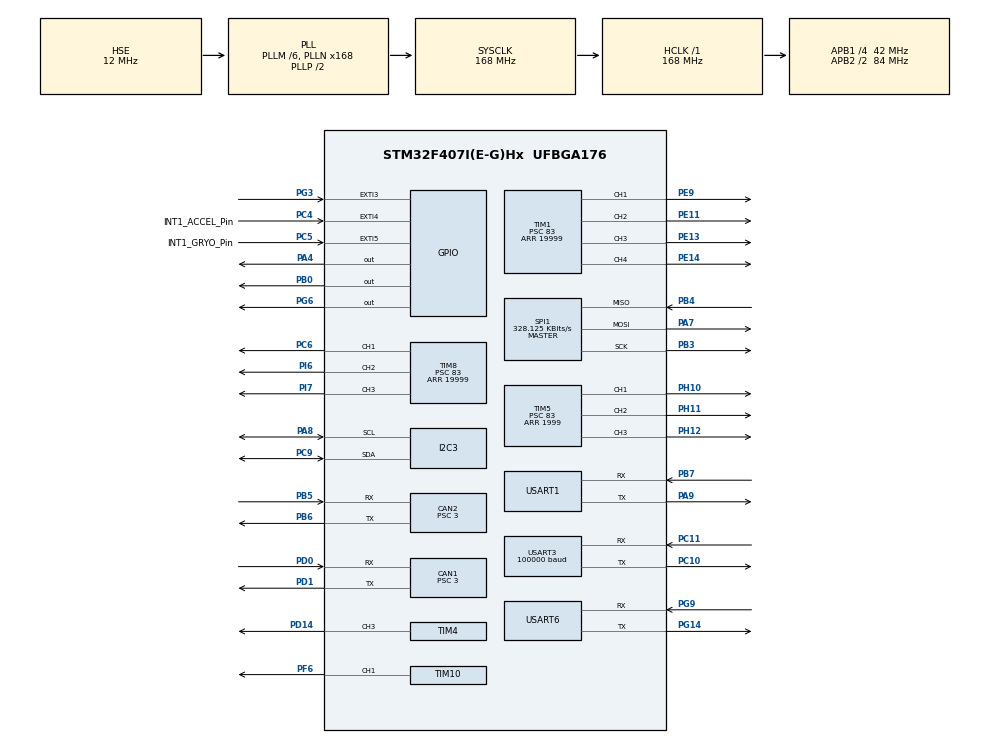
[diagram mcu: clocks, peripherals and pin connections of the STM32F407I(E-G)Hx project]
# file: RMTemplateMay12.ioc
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CAN1.BS1=CAN_BS1_10TQ
CAN1.BS2=CAN_BS2_3TQ
CAN1.CalculateBaudRate=1000000
CAN1.CalculateTimeBit=1000
CAN1.CalculateTimeQuantum=71.42857142857143
CAN1.Prescaler=3
CAN2.BS1=CAN_BS1_10TQ
CAN2.BS2=CAN_BS2_3TQ
CAN2.CalculateBaudRate=1000000
CAN2.CalculateTimeBit=1000
CAN2.CalculateTimeQuantum=71.42857142857143
CAN2.Prescaler=3
Dma.Request0=USART3_RX
Dma.Request1=USART1_TX
Dma.Request2=USART1_RX
Dma.Request3=USART6_RX
Dma.Request4=USART6_TX
Dma.Request5=TIM4_CH3
Dma.Request6=TIM5_CH1
Dma.Request7=TIM5_CH2
Dma.TIM4_CH3.5.Direction=DMA_PERIPH_TO_MEMORY
Dma.TIM4_CH3.5.FIFOMode=DMA_FIFOMODE_DISABLE
Dma.TIM4_CH3.5.Instance=DMA1_Stream7
Dma.TIM4_CH3.5.MemDataAlignment=DMA_MDATAALIGN_HALFWORD
Dma.TIM4_CH3.5.MemInc=DMA_MINC_ENABLE
Dma.TIM4_CH3.5.Mode=DMA_NORMAL
Dma.TIM4_CH3.5.PeriphDataAlignment=DMA_PDATAALIGN_HALFWORD
Dma.TIM4_CH3.5.PeriphInc=DMA_PINC_DISABLE
Dma.TIM4_CH3.5.Priority=DMA_PRIORITY_LOW
Dma.TIM5_CH1.6.Direction=DMA_PERIPH_TO_MEMORY
Dma.TIM5_CH1.6.FIFOMode=DMA_FIFOMODE_DISABLE
Dma.TIM5_CH1.6.Instance=DMA1_Stream2
Dma.TIM5_CH1.6.MemDataAlignment=DMA_MDATAALIGN_WORD
Dma.TIM5_CH1.6.MemInc=DMA_MINC_ENABLE
Dma.TIM5_CH1.6.Mode=DMA_NORMAL
Dma.TIM5_CH1.6.PeriphDataAlignment=DMA_PDATAALIGN_WORD
Dma.TIM5_CH1.6.PeriphInc=DMA_PINC_DISABLE
Dma.TIM5_CH1.6.Priority=DMA_PRIORITY_LOW
Dma.TIM5_CH2.7.Direction=DMA_PERIPH_TO_MEMORY
Dma.TIM5_CH2.7.FIFOMode=DMA_FIFOMODE_DISABLE
Dma.TIM5_CH2.7.Instance=DMA1_Stream4
Dma.TIM5_CH2.7.MemDataAlignment=DMA_MDATAALIGN_WORD
Dma.TIM5_CH2.7.MemInc=DMA_MINC_ENABLE
Dma.TIM5_CH2.7.Mode=DMA_NORMAL
Dma.TIM5_CH2.7.PeriphDataAlignment=DMA_PDATAALIGN_WORD
Dma.TIM5_CH2.7.PeriphInc=DMA_PINC_DISABLE
Dma.TIM5_CH2.7.Priority=DMA_PRIORITY_LOW
Dma.USART1_RX.2.Direction=DMA_PERIPH_TO_MEMORY
Dma.USART1_RX.2.FIFOMode=DMA_FIFOMODE_DISABLE
Dma.USART1_RX.2.Instance=DMA2_Stream2
Dma.USART1_RX.2.MemDataAlignment=DMA_MDATAALIGN_BYTE
Dma.USART1_RX.2.MemInc=DMA_MINC_ENABLE
Dma.USART1_RX.2.Mode=DMA_NORMAL
Dma.USART1_RX.2.PeriphDataAlignment=DMA_PDATAALIGN_BYTE
Dma.USART1_RX.2.PeriphInc=DMA_PINC_DISABLE
Dma.USART1_RX.2.Priority=DMA_PRIORITY_VERY_HIGH
Dma.USART1_TX.1.Direction=DMA_MEMORY_TO_PERIPH
Dma.USART1_TX.1.FIFOMode=DMA_FIFOMODE_DISABLE
Dma.USART1_TX.1.Instance=DMA2_Stream7
Dma.USART1_TX.1.MemDataAlignment=DMA_MDATAALIGN_BYTE
Dma.USART1_TX.1.MemInc=DMA_MINC_ENABLE
Dma.USART1_TX.1.Mode=DMA_NORMAL
Dma.USART1_TX.1.PeriphDataAlignment=DMA_PDATAALIGN_BYTE
Dma.USART1_TX.1.PeriphInc=DMA_PINC_DISABLE
Dma.USART1_TX.1.Priority=DMA_PRIORITY_VERY_HIGH
Dma.USART3_RX.0.Direction=DMA_PERIPH_TO_MEMORY
Dma.USART3_RX.0.FIFOMode=DMA_FIFOMODE_DISABLE
Dma.USART3_RX.0.Instance=DMA1_Stream1
Dma.USART3_RX.0.MemDataAlignment=DMA_MDATAALIGN_BYTE
Dma.USART3_RX.0.MemInc=DMA_MINC_ENABLE
Dma.USART3_RX.0.Mode=DMA_CIRCULAR
Dma.USART3_RX.0.PeriphDataAlignment=DMA_PDATAALIGN_BYTE
Dma.USART3_RX.0.PeriphInc=DMA_PINC_DISABLE
Dma.USART3_RX.0.Priority=DMA_PRIORITY_VERY_HIGH
Dma.USART6_RX.3.Direction=DMA_PERIPH_TO_MEMORY
Dma.USART6_RX.3.FIFOMode=DMA_FIFOMODE_DISABLE
Dma.USART6_RX.3.Instance=DMA2_Stream1
Dma.USART6_RX.3.MemDataAlignment=DMA_MDATAALIGN_BYTE
Dma.USART6_RX.3.MemInc=DMA_MINC_ENABLE
Dma.USART6_RX.3.Mode=DMA_NORMAL
Dma.USART6_RX.3.PeriphDataAlignment=DMA_PDATAALIGN_BYTE
Dma.USART6_RX.3.PeriphInc=DMA_PINC_DISABLE
Dma.USART6_RX.3.Priority=DMA_PRIORITY_VERY_HIGH
Dma.USART6_TX.4.Direction=DMA_MEMORY_TO_PERIPH
Dma.USART6_TX.4.FIFOMode=DMA_FIFOMODE_DISABLE
Dma.USART6_TX.4.Instance=DMA2_Stream6
Dma.USART6_TX.4.MemDataAlignment=DMA_MDATAALIGN_BYTE
Dma.USART6_TX.4.MemInc=DMA_MINC_ENABLE
Dma.USART6_TX.4.Mode=DMA_NORMAL
Dma.USART6_TX.4.PeriphDataAlignment=DMA_PDATAALIGN_BYTE
Dma.USART6_TX.4.PeriphInc=DMA_PINC_DISABLE
Dma.USART6_TX.4.Priority=DMA_PRIORITY_VERY_HIGH
FREERTOS.INCLUDE_pcTaskGetTaskName=1
FREERTOS.INCLUDE_xTaskGetHandle=1
FREERTOS.Tasks01=defaultTask,32,1024,TaskMain,Default,NULL,Dynamic,NULL,NULL;chassisTask,40,1124,TaskChassis,Default,NULL,Dynamic,NULL,NULL;IMUtempPIDtask,24,512,imu_temp_control_task,As weak,NULL,Dynamic,NULL,NULL;turretTask,40,1024,TaskTurret,Default,NULL,Dynamic,NULL,NULL
FREERTOS.configUSE_NEWLIB_REENTRANT=1
I2C3.I2C_Mode=I2C_Fast
Mcu.Family=STM32F4
Mcu.Name=STM32F407I(E-G)Hx
Mcu.Package=UFBGA176
NVIC.CAN1_RX0_IRQn=true\:5\:0\:false\:false\:true\:true\:true\:true\:true
NVIC.CAN2_RX0_IRQn=true\:5\:0\:false\:false\:true\:true\:true\:true\:true
NVIC.DMA1_Stream1_IRQn=true\:5\:0\:false\:false\:true\:true\:false\:true\:true
NVIC.DMA1_Stream2_IRQn=true\:5\:0\:false\:false\:true\:true\:false\:true\:true
NVIC.DMA1_Stream4_IRQn=true\:5\:0\:false\:false\:true\:true\:false\:true\:true
NVIC.DMA1_Stream7_IRQn=true\:5\:0\:false\:false\:true\:true\:false\:true\:true
NVIC.DMA2_Stream1_IRQn=true\:5\:0\:false\:false\:true\:true\:false\:true\:true
NVIC.DMA2_Stream2_IRQn=true\:5\:0\:false\:false\:true\:true\:false\:true\:true
NVIC.DMA2_Stream6_IRQn=true\:5\:0\:false\:false\:true\:true\:false\:true\:true
NVIC.DMA2_Stream7_IRQn=true\:5\:0\:false\:false\:true\:true\:false\:true\:true
NVIC.EXTI3_IRQn=true\:5\:0\:false\:false\:true\:true\:true\:true\:true
NVIC.EXTI4_IRQn=true\:5\:0\:false\:false\:true\:true\:true\:true\:true
NVIC.PriorityGroup=NVIC_PRIORITYGROUP_4
NVIC.USART1_IRQn=true\:5\:0\:false\:false\:true\:true\:true\:true\:true
NVIC.USART3_IRQn=true\:5\:0\:false\:false\:false\:true\:true\:true\:true
NVIC.USART6_IRQn=true\:5\:0\:false\:false\:true\:true\:true\:true\:true
PA13.Mode=Serial_Wire
PA13.Signal=SYS_JTMS-SWDIO
PA14.Mode=Serial_Wire
PA14.Signal=SYS_JTCK-SWCLK
PA4.Signal=GPIO_Output
PA7.Mode=Full_Duplex_Master
PA7.Signal=SPI1_MOSI
PA8.Mode=I2C
PA8.Signal=I2C3_SCL
PA9.Mode=Asynchronous
PA9.Signal=USART1_TX
PB0.Signal=GPIO_Output
PB3.Mode=Full_Duplex_Master
PB3.Signal=SPI1_SCK
PB4.Mode=Full_Duplex_Master
PB4.Signal=SPI1_MISO
PB5.Mode=CAN_Activate
PB5.Signal=CAN2_RX
PB6.Mode=CAN_Activate
PB6.Signal=CAN2_TX
PB7.Mode=Asynchronous
PB7.Signal=USART1_RX
PC10.Mode=Asynchronous
PC10.Signal=USART3_TX
PC11.Mode=Asynchronous
PC11.Signal=USART3_RX
PC4.GPIO_Label=INT1_ACCEL_Pin
PC4.Signal=GPXTI4
PC5.GPIO_Label=INT1_GRYO_Pin
PC5.Signal=GPXTI5
PC6.Signal=S_TIM8_CH1
PC9.Mode=I2C
PC9.Signal=I2C3_SDA
PD0.Mode=CAN_Activate
PD0.Signal=CAN1_RX
PD1.Mode=CAN_Activate
PD1.Signal=CAN1_TX
PD14.Signal=S_TIM4_CH3
PE11.Signal=S_TIM1_CH2
PE13.Signal=S_TIM1_CH3
PE14.Signal=S_TIM1_CH4
PE9.Signal=S_TIM1_CH1
PF6.GPIO_PuPd=GPIO_PULLUP
PF6.GPIO_Speed=GPIO_SPEED_FREQ_HIGH
PF6.Signal=S_TIM10_CH1
PG14.Mode=Asynchronous
PG14.Signal=USART6_TX
PG3.Signal=GPXTI3
PG6.Signal=GPIO_Output
PG9.Mode=Asynchronous
PG9.Signal=USART6_RX
PH0-OSC_IN.Mode=HSE-External-Oscillator
PH0-OSC_IN.Signal=RCC_OSC_IN
PH1-OSC_OUT.Mode=HSE-External-Oscillator
PH1-OSC_OUT.Signal=RCC_OSC_OUT
PH10.Signal=S_TIM5_CH1
PH11.Signal=S_TIM5_CH2
PH12.Signal=S_TIM5_CH3
PI6.Signal=S_TIM8_CH2
PI7.Signal=S_TIM8_CH3
ProjectManager.HeapSize=0x200
ProjectManager.StackSize=0x400
ProjectManager.TargetToolchain=STM32CubeIDE
RCC.48MHZClocksFreq_Value=84000000
RCC.AHBFreq_Value=168000000
RCC.APB1CLKDivider=RCC_HCLK_DIV4
RCC.APB1Freq_Value=42000000
RCC.APB1TimFreq_Value=84000000
RCC.APB2CLKDivider=RCC_HCLK_DIV2
RCC.APB2Freq_Value=84000000
RCC.APB2TimFreq_Value=168000000
RCC.CortexFreq_Value=168000000
RCC.EnbaleCSS=true
RCC.HCLKFreq_Value=168000000
RCC.HSE_VALUE=12000000
RCC.HSI_VALUE=16000000
RCC.LSE_VALUE=32768
RCC.PLLM=6
RCC.PLLN=168
RCC.PLLSourceVirtual=RCC_PLLSOURCE_HSE
RCC.SYSCLKFreq_VALUE=168000000
RCC.SYSCLKSource=RCC_SYSCLKSOURCE_PLLCLK
RCC.VCOOutputFreq_Value=336000000
SH.S_TIM10_CH1.0=TIM10_CH1,PWM Generation1 CH1
SH.S_TIM1_CH1.0=TIM1_CH1,PWM Generation1 CH1
SH.S_TIM1_CH2.0=TIM1_CH2,PWM Generation2 CH2
SH.S_TIM1_CH3.0=TIM1_CH3,PWM Generation3 CH3
SH.S_TIM1_CH4.0=TIM1_CH4,PWM Generation4 CH4
SH.S_TIM4_CH3.0=TIM4_CH3,PWM Generation3 CH3
SH.S_TIM5_CH1.0=TIM5_CH1,PWM Generation1 CH1
SH.S_TIM5_CH2.0=TIM5_CH2,PWM Generation2 CH2
SH.S_TIM5_CH3.0=TIM5_CH3,PWM Generation3 CH3
SH.S_TIM8_CH1.0=TIM8_CH1,PWM Generation1 CH1
SH.S_TIM8_CH2.0=TIM8_CH2,PWM Generation2 CH2
SH.S_TIM8_CH3.0=TIM8_CH3,PWM Generation3 CH3
SPI1.BaudRatePrescaler=SPI_BAUDRATEPRESCALER_256
SPI1.CLKPhase=SPI_PHASE_2EDGE
SPI1.CLKPolarity=SPI_POLARITY_HIGH
SPI1.CalculateBaudRate=328.125 KBits/s
SPI1.Direction=SPI_DIRECTION_2LINES
SPI1.Mode=SPI_MODE_MASTER
SPI1.VirtualType=VM_MASTER
TIM1.AutoReloadPreload=TIM_AUTORELOAD_PRELOAD_DISABLE
TIM1.Channel-PWM\ Generation1\ CH1=TIM_CHANNEL_1
TIM1.Channel-PWM\ Generation2\ CH2=TIM_CHANNEL_2
TIM1.Channel-PWM\ Generation3\ CH3=TIM_CHANNEL_3
TIM1.Channel-PWM\ Generation4\ CH4=TIM_CHANNEL_4
TIM1.Period=19999
TIM1.Prescaler=83
TIM1.Pulse-PWM\ Generation1\ CH1=0
TIM10.Channel=TIM_CHANNEL_1
TIM10.Period=4999
TIM4.AutoReloadPreload=TIM_AUTORELOAD_PRELOAD_ENABLE
TIM4.Channel-PWM\ Generation3\ CH3=TIM_CHANNEL_3
TIM4.Period=20999
TIM4.Prescaler=83
TIM4.Pulse-PWM\ Generation3\ CH3=10499
TIM5.Channel-PWM\ Generation1\ CH1=TIM_CHANNEL_1
TIM5.Channel-PWM\ Generation2\ CH2=TIM_CHANNEL_2
TIM5.Channel-PWM\ Generation3\ CH3=TIM_CHANNEL_3
TIM5.Period=1999
TIM5.Prescaler=83
TIM8.AutoReloadPreload=TIM_AUTORELOAD_PRELOAD_ENABLE
TIM8.Channel-PWM\ Generation1\ CH1=TIM_CHANNEL_1
TIM8.Channel-PWM\ Generation2\ CH2=TIM_CHANNEL_2
TIM8.Channel-PWM\ Generation3\ CH3=TIM_CHANNEL_3
TIM8.Period=19999
TIM8.Prescaler=83
USART1.VirtualMode=VM_ASYNC
USART3.BaudRate=100000
USART3.Parity=PARITY_EVEN
USART3.VirtualMode=VM_ASYNC
USART6.VirtualMode=VM_ASYNC
VP_FREERTOS_VS_CMSIS_V2.Mode=CMSIS_V2
VP_TIM10_VS_ClockSourceINT.Mode=Enable_Timer
VP_TIM4_VS_ClockSourceINT.Mode=Internal
board=custom

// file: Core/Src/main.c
/* USER CODE BEGIN Header */
/**
  ******************************************************************************
  * @file           : main.c
  * @brief          : Main program body
  ******************************************************************************
  * @attention
  *
  * Copyright (c) 2024 STMicroelectronics.
  * All rights reserved.
  *
  * This software is licensed under terms that can be found in the LICENSE file
  * in the root directory of this software component.
  * If no LICENSE file comes with this software, it is provided AS-IS.
  *
  ******************************************************************************
  */
/* USER CODE END Header */
#include "main.h"
#include "cmsis_os.h"

/* USER CODE BEGIN Includes */
//#include "CAN_receive.h"
#include "CAN.h"
#include "bsp_can.h"
#include "remote_control.h"
#include "bsp_rc.h"
#include "UART.h"
#include "stdio.h"
#include "stdarg.h"
#include "string.h"
#include "BMI088driver.h"
#include "pid.h"
#include "bsp_imu_pwm.h"
#include "ist8310driver.h"
#include "pwm.h"
#include "songs.h"
/* USER CODE END Includes */

CAN_HandleTypeDef hcan1;
CAN_HandleTypeDef hcan2;

I2C_HandleTypeDef hi2c3;

SPI_HandleTypeDef hspi1;

TIM_HandleTypeDef htim1;
TIM_HandleTypeDef htim4;
TIM_HandleTypeDef htim5;
TIM_HandleTypeDef htim8;
TIM_HandleTypeDef htim10;
DMA_HandleTypeDef hdma_tim4_ch3;

UART_HandleTypeDef huart1;
UART_HandleTypeDef huart3;
UART_HandleTypeDef huart6;
DMA_HandleTypeDef hdma_usart1_tx;
DMA_HandleTypeDef hdma_usart1_rx;
DMA_HandleTypeDef hdma_usart3_rx;
DMA_HandleTypeDef hdma_usart6_rx;
DMA_HandleTypeDef hdma_usart6_tx;

/* Definitions for defaultTask */
osThreadId_t defaultTaskHandle;
const osThreadAttr_t defaultTask_attributes = {
  .name = "defaultTask",
  .stack_size = 1024 * 4,
  .priority = (osPriority_t) osPriorityAboveNormal,
};
/* Definitions for chassisTask */
osThreadId_t chassisTaskHandle;
const osThreadAttr_t chassisTask_attributes = {
  .name = "chassisTask",
  .stack_size = 1124 * 4,
  .priority = (osPriority_t) osPriorityHigh,
};
/* Definitions for IMUtempPIDtask */
osThreadId_t IMUtempPIDtaskHandle;
const osThreadAttr_t IMUtempPIDtask_attributes = {
  .name = "IMUtempPIDtask",
  .stack_size = 512 * 4,
  .priority = (osPriority_t) osPriorityNormal,
};
/* Definitions for turretTask */
osThreadId_t turretTaskHandle;
const osThreadAttr_t turretTask_attributes = {
  .name = "turretTask",
  .stack_size = 1024 * 4,
  .priority = (osPriority_t) osPriorityHigh,
};
/* USER CODE BEGIN PV */
const RC_ctrl_t *local_rc_ctrl;

PID_preset_t chassisPreset = {3.6, 0.015, 4.2};  //0.8f, 0.025f, 0.95f   {1.6, 0.045, 0.10}; 32 0.42
PID_preset_t yawPresetCurrentRPM = {46, 10.0, 16.4};
PID_preset_t yawPresetVoltageRPM = {30, 0.2, 0.1};
PID_preset_t yawPresetCurrentPosition = {12, 1, 0.0};
PID_preset_t yawPresetVoltagePosition = {36, 0.3, 0.0};
PID_preset_t pitchPresetVoltagePosition = {32, 0.0, 0.0};
PID_preset_t indexerPreset = {1.1f, 0.02f, -2.4f};
PID_preset_t shooterPreset = {1.20f, 0.12f, 1.60f};
PID_preset_t powerPreset = {0, 0.000000000001, 0};
PID_preset_t flywheel = {12, 0, 0};
PID_preset_t customPreset = {0, 0, 0};

int target = 2000;

extern game_status_t game_status;
extern power_heat_data_t power_heat_data;
extern robot_status_t robot_status;
extern pc_control_t pc_control;

float calcChassisPower = 0;

/* USER CODE END PV */

void SystemClock_Config(void);
static void MX_GPIO_Init(void);
static void MX_DMA_Init(void);
static void MX_CAN1_Init(void);
static void MX_CAN2_Init(void);
static void MX_SPI1_Init(void);
static void MX_TIM4_Init(void);
static void MX_USART1_UART_Init(void);
static void MX_USART6_UART_Init(void);
static void MX_TIM1_Init(void);
static void MX_TIM8_Init(void);
static void MX_USART3_UART_Init(void);
static void MX_TIM10_Init(void);
static void MX_I2C3_Init(void);
static void MX_TIM5_Init(void);
void TaskMain(void *argument);
void TaskChassis(void *argument);
void imu_temp_control_task(void *argument);
void TaskTurret(void *argument);

int main(void)
{

  /* MCU Configuration--------------------------------------------------------*/

  /* Reset of all peripherals, Initializes the Flash interface and the Systick. */
  HAL_Init();

  /* Configure the system clock */
  SystemClock_Config();

  /* Initialize all configured peripherals */
  MX_GPIO_Init();
  MX_DMA_Init();
  MX_CAN1_Init();
  MX_CAN2_Init();
  MX_SPI1_Init();
  MX_TIM4_Init();
  MX_USART1_UART_Init();
  MX_USART6_UART_Init();
  MX_TIM1_Init();
  MX_TIM8_Init();
  MX_USART3_UART_Init();
  MX_TIM10_Init();
  MX_I2C3_Init();
  MX_TIM5_Init();
  /* USER CODE BEGIN 2 */
  can_filter_init();
  remote_control_init();
  usart_Init();
  local_rc_ctrl = get_remote_control_point();
  PWMInit(&htim1, &htim4, &htim5, &htim8);
  //__HAL_UART_ENABLE_IT(&huart1,UART_IT_IDLE);
  /* USER CODE END 2 */

  /* Init scheduler */
  osKernelInitialize();

  /* Create the thread(s) */
  /* creation of defaultTask */
  defaultTaskHandle = osThreadNew(TaskMain, NULL, &defaultTask_attributes);

  /* creation of chassisTask */
  chassisTaskHandle = osThreadNew(TaskChassis, NULL, &chassisTask_attributes);

  /* creation of IMUtempPIDtask */
  IMUtempPIDtaskHandle = osThreadNew(imu_temp_control_task, NULL, &IMUtempPIDtask_attributes);

  /* creation of turretTask */
  turretTaskHandle = osThreadNew(TaskTurret, NULL, &turretTask_attributes);

  /* Start scheduler */
  osKernelStart();

  /* We should never get here as control is now taken by the scheduler */

  /* Infinite loop */
  while (1)
  {

  }
}

void SystemClock_Config(void)
{
  RCC_OscInitTypeDef RCC_OscInitStruct = {0};
  RCC_ClkInitTypeDef RCC_ClkInitStruct = {0};

  /** Configure the main internal regulator output voltage
  */
  __HAL_RCC_PWR_CLK_ENABLE();
  __HAL_PWR_VOLTAGESCALING_CONFIG(PWR_REGULATOR_VOLTAGE_SCALE1);

  /** Initializes the RCC Oscillators according to the specified parameters
  * in the RCC_OscInitTypeDef structure.
  */
  RCC_OscInitStruct.OscillatorType = RCC_OSCILLATORTYPE_HSE;
  RCC_OscInitStruct.HSEState = RCC_HSE_ON;
  RCC_OscInitStruct.PLL.PLLState = RCC_PLL_ON;
  RCC_OscInitStruct.PLL.PLLSource = RCC_PLLSOURCE_HSE;
  RCC_OscInitStruct.PLL.PLLM = 6;
  RCC_OscInitStruct.PLL.PLLN = 168;
  RCC_OscInitStruct.PLL.PLLP = RCC_PLLP_DIV2;
  RCC_OscInitStruct.PLL.PLLQ = 4;
  if (HAL_RCC_OscConfig(&RCC_OscInitStruct) != HAL_OK)
  {
    Error_Handler();
  }

  /** Initializes the CPU, AHB and APB buses clocks
  */
  RCC_ClkInitStruct.ClockType = RCC_CLOCKTYPE_HCLK|RCC_CLOCKTYPE_SYSCLK
                              |RCC_CLOCKTYPE_PCLK1|RCC_CLOCKTYPE_PCLK2;
  RCC_ClkInitStruct.SYSCLKSource = RCC_SYSCLKSOURCE_PLLCLK;
  RCC_ClkInitStruct.AHBCLKDivider = RCC_SYSCLK_DIV1;
  RCC_ClkInitStruct.APB1CLKDivider = RCC_HCLK_DIV4;
  RCC_ClkInitStruct.APB2CLKDivider = RCC_HCLK_DIV2;

  if (HAL_RCC_ClockConfig(&RCC_ClkInitStruct, FLASH_LATENCY_5) != HAL_OK)
  {
    Error_Handler();
  }

  /** Enables the Clock Security System
  */
  HAL_RCC_EnableCSS();
}

static void MX_CAN1_Init(void)
{

  hcan1.Instance = CAN1;
  hcan1.Init.Prescaler = 3;
  hcan1.Init.Mode = CAN_MODE_NORMAL;
  hcan1.Init.SyncJumpWidth = CAN_SJW_1TQ;
  hcan1.Init.TimeSeg1 = CAN_BS1_10TQ;
  hcan1.Init.TimeSeg2 = CAN_BS2_3TQ;
  hcan1.Init.TimeTriggeredMode = DISABLE;
  hcan1.Init.AutoBusOff = DISABLE;
  hcan1.Init.AutoWakeUp = DISABLE;
  hcan1.Init.AutoRetransmission = DISABLE;
  hcan1.Init.ReceiveFifoLocked = DISABLE;
  hcan1.Init.TransmitFifoPriority = DISABLE;
  if (HAL_CAN_Init(&hcan1) != HAL_OK)
  {
    Error_Handler();
  }

}

static void MX_CAN2_Init(void)
{

  hcan2.Instance = CAN2;
  hcan2.Init.Prescaler = 3;
  hcan2.Init.Mode = CAN_MODE_NORMAL;
  hcan2.Init.SyncJumpWidth = CAN_SJW_1TQ;
  hcan2.Init.TimeSeg1 = CAN_BS1_10TQ;
  hcan2.Init.TimeSeg2 = CAN_BS2_3TQ;
  hcan2.Init.TimeTriggeredMode = DISABLE;
  hcan2.Init.AutoBusOff = DISABLE;
  hcan2.Init.AutoWakeUp = DISABLE;
  hcan2.Init.AutoRetransmission = DISABLE;
  hcan2.Init.ReceiveFifoLocked = DISABLE;
  hcan2.Init.TransmitFifoPriority = DISABLE;
  if (HAL_CAN_Init(&hcan2) != HAL_OK)
  {
    Error_Handler();
  }

}

static void MX_I2C3_Init(void)
{

  hi2c3.Instance = I2C3;
  hi2c3.Init.ClockSpeed = 400000;
  hi2c3.Init.DutyCycle = I2C_DUTYCYCLE_2;
  hi2c3.Init.OwnAddress1 = 0;
  hi2c3.Init.AddressingMode = I2C_ADDRESSINGMODE_7BIT;
  hi2c3.Init.DualAddressMode = I2C_DUALADDRESS_DISABLE;
  hi2c3.Init.OwnAddress2 = 0;
  hi2c3.Init.GeneralCallMode = I2C_GENERALCALL_DISABLE;
  hi2c3.Init.NoStretchMode = I2C_NOSTRETCH_DISABLE;
  if (HAL_I2C_Init(&hi2c3) != HAL_OK)
  {
    Error_Handler();
  }

}

static void MX_SPI1_Init(void)
{

  /* SPI1 parameter configuration*/
  hspi1.Instance = SPI1;
  hspi1.Init.Mode = SPI_MODE_MASTER;
  hspi1.Init.Direction = SPI_DIRECTION_2LINES;
  hspi1.Init.DataSize = SPI_DATASIZE_8BIT;
  hspi1.Init.CLKPolarity = SPI_POLARITY_HIGH;
  hspi1.Init.CLKPhase = SPI_PHASE_2EDGE;
  hspi1.Init.NSS = SPI_NSS_SOFT;
  hspi1.Init.BaudRatePrescaler = SPI_BAUDRATEPRESCALER_256;
  hspi1.Init.FirstBit = SPI_FIRSTBIT_MSB;
  hspi1.Init.TIMode = SPI_TIMODE_DISABLE;
  hspi1.Init.CRCCalculation = SPI_CRCCALCULATION_DISABLE;
  hspi1.Init.CRCPolynomial = 10;
  if (HAL_SPI_Init(&hspi1) != HAL_OK)
  {
    Error_Handler();
  }

}

static void MX_TIM1_Init(void)
{

  TIM_MasterConfigTypeDef sMasterConfig = {0};
  TIM_OC_InitTypeDef sConfigOC = {0};
  TIM_BreakDeadTimeConfigTypeDef sBreakDeadTimeConfig = {0};

  htim1.Instance = TIM1;
  htim1.Init.Prescaler = 83;
  htim1.Init.CounterMode = TIM_COUNTERMODE_UP;
  htim1.Init.Period = 19999;
  htim1.Init.ClockDivision = TIM_CLOCKDIVISION_DIV1;
  htim1.Init.RepetitionCounter = 0;
  htim1.Init.AutoReloadPreload = TIM_AUTORELOAD_PRELOAD_DISABLE;
  if (HAL_TIM_PWM_Init(&htim1) != HAL_OK)
  {
    Error_Handler();
  }
  sMasterConfig.MasterOutputTrigger = TIM_TRGO_RESET;
  sMasterConfig.MasterSlaveMode = TIM_MASTERSLAVEMODE_DISABLE;
  if (HAL_TIMEx_MasterConfigSynchronization(&htim1, &sMasterConfig) != HAL_OK)
  {
    Error_Handler();
  }
  sConfigOC.OCMode = TIM_OCMODE_PWM1;
  sConfigOC.Pulse = 0;
  sConfigOC.OCPolarity = TIM_OCPOLARITY_HIGH;
  sConfigOC.OCNPolarity = TIM_OCNPOLARITY_HIGH;
  sConfigOC.OCFastMode = TIM_OCFAST_DISABLE;
  sConfigOC.OCIdleState = TIM_OCIDLESTATE_RESET;
  sConfigOC.OCNIdleState = TIM_OCNIDLESTATE_RESET;
  if (HAL_TIM_PWM_ConfigChannel(&htim1, &sConfigOC, TIM_CHANNEL_1) != HAL_OK)
  {
    Error_Handler();
  }
  if (HAL_TIM_PWM_ConfigChannel(&htim1, &sConfigOC, TIM_CHANNEL_2) != HAL_OK)
  {
    Error_Handler();
  }
  if (HAL_TIM_PWM_ConfigChannel(&htim1, &sConfigOC, TIM_CHANNEL_3) != HAL_OK)
  {
    Error_Handler();
  }
  if (HAL_TIM_PWM_ConfigChannel(&htim1, &sConfigOC, TIM_CHANNEL_4) != HAL_OK)
  {
    Error_Handler();
  }
  sBreakDeadTimeConfig.OffStateRunMode = TIM_OSSR_DISABLE;
  sBreakDeadTimeConfig.OffStateIDLEMode = TIM_OSSI_DISABLE;
  sBreakDeadTimeConfig.LockLevel = TIM_LOCKLEVEL_OFF;
  sBreakDeadTimeConfig.DeadTime = 0;
  sBreakDeadTimeConfig.BreakState = TIM_BREAK_DISABLE;
  sBreakDeadTimeConfig.BreakPolarity = TIM_BREAKPOLARITY_HIGH;
  sBreakDeadTimeConfig.AutomaticOutput = TIM_AUTOMATICOUTPUT_DISABLE;
  if (HAL_TIMEx_ConfigBreakDeadTime(&htim1, &sBreakDeadTimeConfig) != HAL_OK)
  {
    Error_Handler();
  }
  HAL_TIM_MspPostInit(&htim1);

}

static void MX_TIM4_Init(void)
{

  TIM_ClockConfigTypeDef sClockSourceConfig = {0};
  TIM_MasterConfigTypeDef sMasterConfig = {0};
  TIM_OC_InitTypeDef sConfigOC = {0};

  htim4.Instance = TIM4;
  htim4.Init.Prescaler = 0;
  htim4.Init.CounterMode = TIM_COUNTERMODE_UP;
  htim4.Init.Period = 20999;
  htim4.Init.ClockDivision = TIM_CLOCKDIVISION_DIV1;
  htim4.Init.AutoReloadPreload = TIM_AUTORELOAD_PRELOAD_ENABLE;
  if (HAL_TIM_Base_Init(&htim4) != HAL_OK)
  {
    Error_Handler();
  }
  sClockSourceConfig.ClockSource = TIM_CLOCKSOURCE_INTERNAL;
  if (HAL_TIM_ConfigClockSource(&htim4, &sClockSourceConfig) != HAL_OK)
  {
    Error_Handler();
  }
  if (HAL_TIM_PWM_Init(&htim4) != HAL_OK)
  {
    Error_Handler();
  }
  sMasterConfig.MasterOutputTrigger = TIM_TRGO_RESET;
  sMasterConfig.MasterSlaveMode = TIM_MASTERSLAVEMODE_DISABLE;
  if (HAL_TIMEx_MasterConfigSynchronization(&htim4, &sMasterConfig) != HAL_OK)
  {
    Error_Handler();
  }
  sConfigOC.OCMode = TIM_OCMODE_PWM1;
  sConfigOC.Pulse = 10499;
  sConfigOC.OCPolarity = TIM_OCPOLARITY_HIGH;
  sConfigOC.OCFastMode = TIM_OCFAST_DISABLE;
  if (HAL_TIM_PWM_ConfigChannel(&htim4, &sConfigOC, TIM_CHANNEL_3) != HAL_OK)
  {
    Error_Handler();
  }
  HAL_TIM_MspPostInit(&htim4);

}

static void MX_TIM5_Init(void)
{

  TIM_MasterConfigTypeDef sMasterConfig = {0};
  TIM_OC_InitTypeDef sConfigOC = {0};

  htim5.Instance = TIM5;
  htim5.Init.Prescaler = 42;
  htim5.Init.CounterMode = TIM_COUNTERMODE_UP;
  htim5.Init.Period = 19999;
  htim5.Init.ClockDivision = TIM_CLOCKDIVISION_DIV1;
  htim5.Init.AutoReloadPreload = TIM_AUTORELOAD_PRELOAD_DISABLE;
  if (HAL_TIM_PWM_Init(&htim5) != HAL_OK)
  {
    Error_Handler();
  }
  sMasterConfig.MasterOutputTrigger = TIM_TRGO_RESET;
  sMasterConfig.MasterSlaveMode = TIM_MASTERSLAVEMODE_DISABLE;
  if (HAL_TIMEx_MasterConfigSynchronization(&htim5, &sMasterConfig) != HAL_OK)
  {
    Error_Handler();
  }
  sConfigOC.OCMode = TIM_OCMODE_PWM1;
  sConfigOC.Pulse = 0;
  sConfigOC.OCPolarity = TIM_OCPOLARITY_HIGH;
  sConfigOC.OCFastMode = TIM_OCFAST_DISABLE;
  if (HAL_TIM_PWM_ConfigChannel(&htim5, &sConfigOC, TIM_CHANNEL_1) != HAL_OK)
  {
    Error_Handler();
  }
  if (HAL_TIM_PWM_ConfigChannel(&htim5, &sConfigOC, TIM_CHANNEL_2) != HAL_OK)
  {
    Error_Handler();
  }
  if (HAL_TIM_PWM_ConfigChannel(&htim5, &sConfigOC, TIM_CHANNEL_3) != HAL_OK)
  {
    Error_Handler();
  }
  HAL_TIM_MspPostInit(&htim5);

}

static void MX_TIM8_Init(void)
{

  TIM_MasterConfigTypeDef sMasterConfig = {0};
  TIM_OC_InitTypeDef sConfigOC = {0};
  TIM_BreakDeadTimeConfigTypeDef sBreakDeadTimeConfig = {0};

  htim8.Instance = TIM8;
  htim8.Init.Prescaler = 83;
  htim8.Init.CounterMode = TIM_COUNTERMODE_UP;
  htim8.Init.Period = 19999;
  htim8.Init.ClockDivision = TIM_CLOCKDIVISION_DIV1;
  htim8.Init.RepetitionCounter = 0;
  htim8.Init.AutoReloadPreload = TIM_AUTORELOAD_PRELOAD_ENABLE;
  if (HAL_TIM_PWM_Init(&htim8) != HAL_OK)
  {
    Error_Handler();
  }
  sMasterConfig.MasterOutputTrigger = TIM_TRGO_RESET;
  sMasterConfig.MasterSlaveMode = TIM_MASTERSLAVEMODE_DISABLE;
  if (HAL_TIMEx_MasterConfigSynchronization(&htim8, &sMasterConfig) != HAL_OK)
  {
    Error_Handler();
  }
  sConfigOC.OCMode = TIM_OCMODE_PWM1;
  sConfigOC.Pulse = 0;
  sConfigOC.OCPolarity = TIM_OCPOLARITY_HIGH;
  sConfigOC.OCNPolarity = TIM_OCNPOLARITY_HIGH;
  sConfigOC.OCFastMode = TIM_OCFAST_DISABLE;
  sConfigOC.OCIdleState = TIM_OCIDLESTATE_RESET;
  sConfigOC.OCNIdleState = TIM_OCNIDLESTATE_RESET;
  if (HAL_TIM_PWM_ConfigChannel(&htim8, &sConfigOC, TIM_CHANNEL_1) != HAL_OK)
  {
    Error_Handler();
  }
  if (HAL_TIM_PWM_ConfigChannel(&htim8, &sConfigOC, TIM_CHANNEL_2) != HAL_OK)
  {
    Error_Handler();
  }
  if (HAL_TIM_PWM_ConfigChannel(&htim8, &sConfigOC, TIM_CHANNEL_3) != HAL_OK)
  {
    Error_Handler();
  }
  sBreakDeadTimeConfig.OffStateRunMode = TIM_OSSR_DISABLE;
  sBreakDeadTimeConfig.OffStateIDLEMode = TIM_OSSI_DISABLE;
  sBreakDeadTimeConfig.LockLevel = TIM_LOCKLEVEL_OFF;
  sBreakDeadTimeConfig.DeadTime = 0;
  sBreakDeadTimeConfig.BreakState = TIM_BREAK_DISABLE;
  sBreakDeadTimeConfig.BreakPolarity = TIM_BREAKPOLARITY_HIGH;
  sBreakDeadTimeConfig.AutomaticOutput = TIM_AUTOMATICOUTPUT_DISABLE;
  if (HAL_TIMEx_ConfigBreakDeadTime(&htim8, &sBreakDeadTimeConfig) != HAL_OK)
  {
    Error_Handler();
  }
  HAL_TIM_MspPostInit(&htim8);

}

static void MX_TIM10_Init(void)
{

  TIM_OC_InitTypeDef sConfigOC = {0};

  htim10.Instance = TIM10;
  htim10.Init.Prescaler = 0;
  htim10.Init.CounterMode = TIM_COUNTERMODE_UP;
  htim10.Init.Period = 4999;
  htim10.Init.ClockDivision = TIM_CLOCKDIVISION_DIV1;
  htim10.Init.AutoReloadPreload = TIM_AUTORELOAD_PRELOAD_DISABLE;
  if (HAL_TIM_Base_Init(&htim10) != HAL_OK)
  {
    Error_Handler();
  }
  if (HAL_TIM_PWM_Init(&htim10) != HAL_OK)
  {
    Error_Handler();
  }
  sConfigOC.OCMode = TIM_OCMODE_PWM1;
  sConfigOC.Pulse = 0;
  sConfigOC.OCPolarity = TIM_OCPOLARITY_HIGH;
  sConfigOC.OCFastMode = TIM_OCFAST_DISABLE;
  if (HAL_TIM_PWM_ConfigChannel(&htim10, &sConfigOC, TIM_CHANNEL_1) != HAL_OK)
  {
    Error_Handler();
  }
  HAL_TIM_MspPostInit(&htim10);

}

static void MX_USART1_UART_Init(void)
{

  huart1.Instance = USART1;
  huart1.Init.BaudRate = 115200;
  huart1.Init.WordLength = UART_WORDLENGTH_8B;
  huart1.Init.StopBits = UART_STOPBITS_1;
  huart1.Init.Parity = UART_PARITY_NONE;
  huart1.Init.Mode = UART_MODE_TX_RX;
  huart1.Init.HwFlowCtl = UART_HWCONTROL_NONE;
  huart1.Init.OverSampling = UART_OVERSAMPLING_16;
  if (HAL_UART_Init(&huart1) != HAL_OK)
  {
    Error_Handler();
  }

}

static void MX_USART3_UART_Init(void)
{

  huart3.Instance = USART3;
  huart3.Init.BaudRate = 100000;
  huart3.Init.WordLength = UART_WORDLENGTH_8B;
  huart3.Init.StopBits = UART_STOPBITS_1;
  huart3.Init.Parity = UART_PARITY_EVEN;
  huart3.Init.Mode = UART_MODE_TX_RX;
  huart3.Init.HwFlowCtl = UART_HWCONTROL_NONE;
  huart3.Init.OverSampling = UART_OVERSAMPLING_16;
  if (HAL_UART_Init(&huart3) != HAL_OK)
  {
    Error_Handler();
  }

}

static void MX_USART6_UART_Init(void)
{

  huart6.Instance = USART6;
  huart6.Init.BaudRate = 115200;
  huart6.Init.WordLength = UART_WORDLENGTH_8B;
  huart6.Init.StopBits = UART_STOPBITS_1;
  huart6.Init.Parity = UART_PARITY_NONE;
  huart6.Init.Mode = UART_MODE_TX_RX;
  huart6.Init.HwFlowCtl = UART_HWCONTROL_NONE;
  huart6.Init.OverSampling = UART_OVERSAMPLING_16;
  if (HAL_UART_Init(&huart6) != HAL_OK)
  {
    Error_Handler();
  }

}

static void MX_DMA_Init(void)
{

  /* DMA controller clock enable */
  __HAL_RCC_DMA1_CLK_ENABLE();
  __HAL_RCC_DMA2_CLK_ENABLE();

  /* DMA interrupt init */
  /* DMA1_Stream1_IRQn interrupt configuration */
  HAL_NVIC_SetPriority(DMA1_Stream1_IRQn, 5, 0);
  HAL_NVIC_EnableIRQ(DMA1_Stream1_IRQn);
  /* DMA1_Stream7_IRQn interrupt configuration */
  HAL_NVIC_SetPriority(DMA1_Stream7_IRQn, 5, 0);
  HAL_NVIC_EnableIRQ(DMA1_Stream7_IRQn);
  /* DMA2_Stream1_IRQn interrupt configuration */
  HAL_NVIC_SetPriority(DMA2_Stream1_IRQn, 5, 0);
  HAL_NVIC_EnableIRQ(DMA2_Stream1_IRQn);
  /* DMA2_Stream2_IRQn interrupt configuration */
  HAL_NVIC_SetPriority(DMA2_Stream2_IRQn, 5, 0);
  HAL_NVIC_EnableIRQ(DMA2_Stream2_IRQn);
  /* DMA2_Stream6_IRQn interrupt configuration */
  HAL_NVIC_SetPriority(DMA2_Stream6_IRQn, 5, 0);
  HAL_NVIC_EnableIRQ(DMA2_Stream6_IRQn);
  /* DMA2_Stream7_IRQn interrupt configuration */
  HAL_NVIC_SetPriority(DMA2_Stream7_IRQn, 5, 0);
  HAL_NVIC_EnableIRQ(DMA2_Stream7_IRQn);

}

static void MX_GPIO_Init(void)
{
  GPIO_InitTypeDef GPIO_InitStruct = {0};

  /* GPIO Ports Clock Enable */
  __HAL_RCC_GPIOB_CLK_ENABLE();
  __HAL_RCC_GPIOG_CLK_ENABLE();
  __HAL_RCC_GPIOA_CLK_ENABLE();
  __HAL_RCC_GPIOD_CLK_ENABLE();
  __HAL_RCC_GPIOC_CLK_ENABLE();
  __HAL_RCC_GPIOI_CLK_ENABLE();
  __HAL_RCC_GPIOH_CLK_ENABLE();
  __HAL_RCC_GPIOF_CLK_ENABLE();
  __HAL_RCC_GPIOE_CLK_ENABLE();

  /*Configure GPIO pin Output Level */
  HAL_GPIO_WritePin(GPIOG, GPIO_PIN_6, GPIO_PIN_RESET);

  /*Configure GPIO pin Output Level */
  HAL_GPIO_WritePin(GPIOA, GPIO_PIN_4, GPIO_PIN_RESET);

  /*Configure GPIO pin Output Level */
  HAL_GPIO_WritePin(GPIOB, GPIO_PIN_0, GPIO_PIN_RESET);

  /*Configure GPIO pin : PG6 */
  GPIO_InitStruct.Pin = GPIO_PIN_6;
  GPIO_InitStruct.Mode = GPIO_MODE_OUTPUT_PP;
  GPIO_InitStruct.Pull = GPIO_NOPULL;
  GPIO_InitStruct.Speed = GPIO_SPEED_FREQ_LOW;
  HAL_GPIO_Init(GPIOG, &GPIO_InitStruct);

  /*Configure GPIO pin : PG3 */
  GPIO_InitStruct.Pin = GPIO_PIN_3;
  GPIO_InitStruct.Mode = GPIO_MODE_IT_RISING;
  GPIO_InitStruct.Pull = GPIO_NOPULL;
  HAL_GPIO_Init(GPIOG, &GPIO_InitStruct);

  /*Configure GPIO pin : PA4 */
  GPIO_InitStruct.Pin = GPIO_PIN_4;
  GPIO_InitStruct.Mode = GPIO_MODE_OUTPUT_PP;
  GPIO_InitStruct.Pull = GPIO_NOPULL;
  GPIO_InitStruct.Speed = GPIO_SPEED_FREQ_LOW;
  HAL_GPIO_Init(GPIOA, &GPIO_InitStruct);

  /*Configure GPIO pins : INT1_ACCEL_Pin_Pin INT1_GRYO_Pin_Pin */
  GPIO_InitStruct.Pin = INT1_ACCEL_Pin_Pin|INT1_GRYO_Pin_Pin;
  GPIO_InitStruct.Mode = GPIO_MODE_IT_RISING;
  GPIO_InitStruct.Pull = GPIO_NOPULL;
  HAL_GPIO_Init(GPIOC, &GPIO_InitStruct);

  /*Configure GPIO pin : PB0 */
  GPIO_InitStruct.Pin = GPIO_PIN_0;
  GPIO_InitStruct.Mode = GPIO_MODE_OUTPUT_PP;
  GPIO_InitStruct.Pull = GPIO_NOPULL;
  GPIO_InitStruct.Speed = GPIO_SPEED_FREQ_LOW;
  HAL_GPIO_Init(GPIOB, &GPIO_InitStruct);

  /* EXTI interrupt init*/
  HAL_NVIC_SetPriority(EXTI3_IRQn, 5, 0);
  HAL_NVIC_EnableIRQ(EXTI3_IRQn);

  HAL_NVIC_SetPriority(EXTI4_IRQn, 5, 0);
  HAL_NVIC_EnableIRQ(EXTI4_IRQn);

}

void TaskMain(void *argument)
{
  /* USER CODE BEGIN 5 */
  /* Infinite loop */
	// LED_PWM_Start();
	HAL_GPIO_WritePin(GPIOH, GPIO_PIN_10, 1);
	// __HAL_TIM_PRESCALER(&htim4, 2);
	// HAL_TIM_PWM_Start(&htim4, TIM_CHANNEL_3);
	// HAL_TIM_Base_Start(&htim4);
	if (BMI088_accel_init()) {
		//usart_printf("WARNING - BMI088 accelerometer init failed \r\n");
	}
	if (BMI088_gyro_init()) {
		usart_printf("WARNING - BMI088 gyroscope init failed \r\n");
	}
	if (ist8310_init()) {
		usart_printf("WARNING - IST8310 compass init failed \r\n");
	}
	CAN_defineMotor(Bus2, M3508, 1);
	CAN_defineMotor(Bus2, M2006, 2);
	CAN_defineMotor(Bus2, GM6020, 1);

	osDelay(150);
	// __HAL_TIM_PRESCALER(&htim4, 0);
	osDelay(150);
	// HAL_TIM_PWM_Stop(&htim4, TIM_CHANNEL_3);

	for(;;) {
		//HAL_GPIO_WritePin(GPIOH, GPIO_PIN_10, 0);
		//set_motor_voltage(5, 4000);
		// LED_SetBrightness(blue, 0.3);
		//usart_printf("%d \r\n", getRotorPosition(1, 1, 1));
		osDelay(500);
		//sendB2bData(CAN_b2b_A_ID, 1, 1, 1, 1);
		//HAL_GPIO_WritePin(GPIOH, GPIO_PIN_10, 1);
		// LED_SetBrightness(blue, 1);
		//set_motor_voltage(5, -4000);
		osDelay(500);
		//sendB2bData(CAN_b2b_A_ID, 0, 0, 0, 0);
		//usart_printf("ACTIVE = %d \r\n", power_heat_data.chassis_power);
	}
  /* USER CODE END 5 */
}

void TaskChassis(void *argument)
{
  /* USER CODE BEGIN TaskChassis */
    int16_t rcRPM[4] = {0,0,0,0};                              // maps rc percentage reading to motors, assuming we're running M3508s at max 469RPM
    int16_t chassisTargetRPM[4] = {0, 0, 0, 0};
    int16_t rcYaw = 0;
    // int16_t rcPitch = 0;   	                    // range: 2204 ~ 4726
    int8_t jammed = 0;
    int8_t indexerStopped = 1;
    int8_t indexerTargetReached = 0;
    //int16_t targetRPM[4] = {0,0,0,0};
  /* Infinite loop */
    for(;;) {
	    for (int i = 0; i < 4; i++) {
	        rcRPM[i] = getRCchannel(i) * 13.645f;              // 13.645 = 469 / 187 / 660 * 3591, 660 = max reading in one direction
	    }
	    rcYaw = getRCchannel(4) * 0.85f;

	    //CAN_DriveMotor(1, CAN_DJI_GROUP3_Current_ID, 2000, 0, 0, 0);
	    //CAN_setMotorCurrent(1, M3508, 7, 2000);
	    //rcPitch = getRotorPosition(1, 1, 2);

	    int16_t turretPitch = (getRCchannel(1)*0.63f)+2640;

	    setMotorPosition(Bus1, GM6020, 5, turretPitch, pitchPresetVoltagePosition);

	    // setMotorRPM(Bus2, GM6020, 5, chassisTargetRPM[0], chassisPreset);

	    //CAN_DriveMotor(Bus1, 0x2FF, 2000, 0, 0, 0);
	    osDelay(2);

	    //setMotorRPM(Bus2, M3508, 8, 50, shooterPreset);
	    setMotorRPM(Bus2, GM6020, 1, rcYaw, yawPresetVoltageRPM);

	    int16_t rcPitch = getRCchannel(1) * 1.91f + 3462;        // range: 4968 ~ 7490       110.85deg
	    //usart_printf("ch1: %d\r\n", getRotorPosition(2,3,5));
	    //setMotorPosition(Bus2, GM6020, 5, 3462, pitchPresetVoltagePosition);

	    //usart_printf("%d \r\n", rcPitch);
	    chassisTargetRPM[0] = rcRPM[3] + rcRPM[0] + rcRPM[2];
	    chassisTargetRPM[1] = rcRPM[3] + rcRPM[0] - rcRPM[2];
	    chassisTargetRPM[2] = -rcRPM[3] + rcRPM[0] - rcRPM[2];
	    chassisTargetRPM[3] = -rcRPM[3] + rcRPM[0] + rcRPM[2];

	    //usart_printf("ch1: %d\r\n", chassisTargetRPM[0]);

	    // setM3508RPM(7, CountryRoadsNotes() /*CountryRoadsNotes()*/, customPreset);

	    setMotorRPM(Bus2, M3508, 1, chassisTargetRPM[0], chassisPreset);
	    setMotorRPM(Bus2, M3508, 2, chassisTargetRPM[1], chassisPreset);
	    setMotorRPM(Bus2, M3508, 3, chassisTargetRPM[2], chassisPreset);
	    setMotorRPM(Bus2, M3508, 4, chassisTargetRPM[3], chassisPreset);
	    // ^^^^^^^^^ chassis code

	    uint32_t notes = CountryRoadsNotes();
	    setMotorRPM(Bus2, M3508, 7, notes, flywheel);
	    setMotorRPM(Bus2, M3508, 8, -1*notes, flywheel);

	    //setGM6020voltageRPM(5, getRCchannel(4) * 0.45, yawPresetVoltageRPM);
	    //setGM6020voltagePosition(9, 6229, pitchPresetVoltagePosition);
		if (getRCswitch(0) == 2) {                                         // IMPORTANT: top to bottom: 1 -> 3 -> 2
			//setM2006RPM(6, -5400, indexerPreset);                             // THIS IS FUCKING STUPID
			//setM3508RPM(7, 8000, shooterPreset);
			//setM3508RPM(8, -8000, shooterPreset);
			if (jammed > 0 && indexerStopped == 0) {
				//setM2006RPM(6, 15000, indexerPreset);
				jammed--;
			} else {
				indexerStopped = 0;
				//setM2006RPM(6, -5400, indexerPreset);
				if (indexerTargetReached == 0 && getMotorRPM(1, 2, 6) <= -10) {
					indexerTargetReached = 1;
				} else if (getMotorRPM(1, 2, 6) > -1 && indexerTargetReached == 1) {         // jammed
					jammed = 12;
					indexerTargetReached = 0;
				}
			}
		} else if (getRCswitch(0) == 3) {
			//setM2006RPM(6, 0, indexerPreset);
			//setM3508RPM(7, 8000, shooterPreset);
			//setM3508RPM(8, -8000, shooterPreset);
			indexerStopped = 1;
			indexerTargetReached = 0;
		} else {       // = 1
			//setM2006RPM(6, 0, indexerPreset);
			//setM3508RPM(7, 0, shooterPreset);
			//setM3508RPM(8, 0, shooterPreset);
			indexerStopped = 1;
			indexerTargetReached = 0;
		}
		PWMTimerStarter();
        osDelay(5);
    }
  /* USER CODE END TaskChassis */
}

__weak void imu_temp_control_task(void *argument)
{
  for(;;)
  {
    osDelay(1);
  }
}

void TaskTurret(void *argument)
{
  /* USER CODE BEGIN TaskTurret */
  /* Infinite loop */
  for(;;)
  {

	  osDelay(5);
  }
  /* USER CODE END TaskTurret */
}

void Error_Handler(void)
{
  __disable_irq();
  while (1)
  {
  }
}
